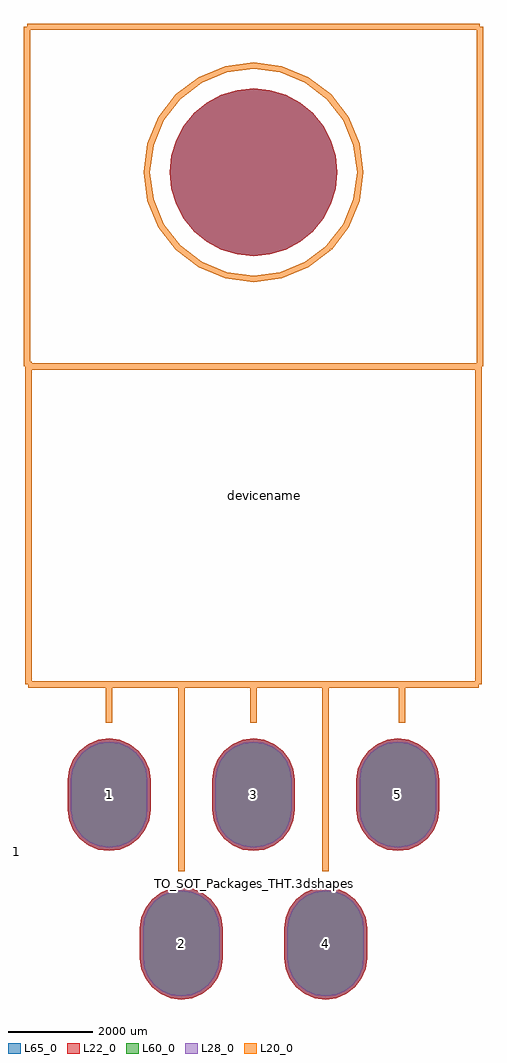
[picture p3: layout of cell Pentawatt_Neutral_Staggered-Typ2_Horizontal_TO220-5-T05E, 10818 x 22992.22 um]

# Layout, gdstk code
import gdstk
lib = gdstk.Library(unit=1e-6, precision=1e-09)
def P(c, l, *ps):  # polygons
    for p in ps: c.add(gdstk.Polygon(p, *l))
L20_0 = (20, 0)
L22_0 = (22, 0)
L28_0 = (28, 0)
L60_0 = (60, 0)
L65_0 = (65, 0)

pentawatt_neutral_stagge = lib.new_cell('Pentawatt_Neutral_Staggered-Typ2_Horizontal_TO220-5-T05E')
P(pentawatt_neutral_stagge, L22_0, [(1699.26,-2724.22),(1951.72,-2690.983),(2186.975,-2593.537),(2388.993,-2438.523),(2544.007,-2236.505),(2641.453,-2001.25),(2674.69,-1748.79),(2674.69,-1050.29),(2641.453,-797.83),(2544.007,-562.575),(2388.993,-360.557),(2186.975,-205.543),(1951.72,-108.097),(1699.26,-74.86),(1446.8,-108.097),(1211.545,-205.543),(1009.527,-360.557),(854.513,-562.575),(757.067,-797.83),(723.83,-1050.29),(723.83,-1748.79),(757.067,-2001.25),(854.513,-2236.505),(1009.527,-2438.523),(1211.545,-2593.537),(1446.8,-2690.983)],
  [(-1699.26,-2724.22),(-1446.8,-2690.983),(-1211.545,-2593.537),(-1009.527,-2438.523),(-854.513,-2236.505),(-757.067,-2001.25),(-723.83,-1748.79),(-723.83,-1050.29),(-757.067,-797.83),(-854.513,-562.575),(-1009.527,-360.557),(-1211.545,-205.543),(-1446.8,-108.097),(-1699.26,-74.86),(-1951.72,-108.097),(-2186.975,-205.543),(-2388.993,-360.557),(-2544.007,-562.575),(-2641.453,-797.83),(-2674.69,-1050.29),(-2674.69,-1748.79),(-2641.453,-2001.25),(-2544.007,-2236.505),(-2388.993,-2438.523),(-2186.975,-2593.537),(-1951.72,-2690.983)],
  [(1974.92,16764),(1936.972,17149.288),(1824.588,17519.769),(1642.086,17861.207),(1396.479,18160.479),(1097.207,18406.086),(755.769,18588.588),(385.288,18700.972),(0,18738.92),(-385.288,18700.972),(-755.769,18588.588),(-1097.207,18406.086),(-1396.479,18160.479),(-1642.086,17861.207),(-1824.588,17519.769),(-1936.972,17149.288),(-1974.92,16764),(-1936.972,16378.712),(-1824.588,16008.231),(-1642.086,15666.793),(-1396.479,15367.521),(-1097.207,15121.914),(-755.769,14939.412),(-385.288,14827.028),(0,14789.08),(385.288,14827.028),(755.769,14939.412),(1097.207,15121.914),(1396.479,15367.521),(1642.086,15666.793),(1824.588,16008.231),(1936.972,16378.712)],
  [(3401.06,775.9),(3653.52,809.137),(3888.775,906.583),(4090.793,1061.597),(4245.807,1263.615),(4343.253,1498.87),(4376.49,1751.33),(4376.49,2449.83),(4343.253,2702.29),(4245.807,2937.545),(4090.793,3139.563),(3888.775,3294.577),(3653.52,3392.023),(3401.06,3425.26),(3148.6,3392.023),(2913.345,3294.577),(2711.327,3139.563),(2556.313,2937.545),(2458.867,2702.29),(2425.63,2449.83),(2425.63,1751.33),(2458.867,1498.87),(2556.313,1263.615),(2711.327,1061.597),(2913.345,906.583),(3148.6,809.137)],
  [(-3401.06,775.9),(-3148.6,809.137),(-2913.345,906.583),(-2711.327,1061.597),(-2556.313,1263.615),(-2458.867,1498.87),(-2425.63,1751.33),(-2425.63,2449.83),(-2458.867,2702.29),(-2556.313,2937.545),(-2711.327,3139.563),(-2913.345,3294.577),(-3148.6,3392.023),(-3401.06,3425.26),(-3653.52,3392.023),(-3888.775,3294.577),(-4090.793,3139.563),(-4245.807,2937.545),(-4343.253,2702.29),(-4376.49,2449.83),(-4376.49,1751.33),(-4343.253,1498.87),(-4245.807,1263.615),(-4090.793,1061.597),(-3888.775,906.583),(-3653.52,809.137)],
  [(0,775.9),(252.46,809.137),(487.715,906.583),(689.733,1061.597),(844.747,1263.615),(942.193,1498.87),(975.43,1751.33),(975.43,2449.83),(942.193,2702.29),(844.747,2937.545),(689.733,3139.563),(487.715,3294.577),(252.46,3392.023),(0,3425.26),(-252.46,3392.023),(-487.715,3294.577),(-689.733,3139.563),(-844.747,2937.545),(-942.193,2702.29),(-975.43,2449.83),(-975.43,1751.33),(-942.193,1498.87),(-844.747,1263.615),(-689.733,1061.597),(-487.715,906.583),(-252.46,809.137)])
P(pentawatt_neutral_stagge, L28_0, [(1699.26,-2649.22),(1932.308,-2618.539),(2149.475,-2528.585),(2335.96,-2385.49),(2479.055,-2199.005),(2569.009,-1981.838),(2599.69,-1748.79),(2599.69,-1050.29),(2569.009,-817.242),(2479.055,-600.075),(2335.96,-413.59),(2149.475,-270.495),(1932.308,-180.541),(1699.26,-149.86),(1466.212,-180.541),(1249.045,-270.495),(1062.56,-413.59),(919.465,-600.075),(829.511,-817.242),(798.83,-1050.29),(798.83,-1748.79),(829.511,-1981.838),(919.465,-2199.005),(1062.56,-2385.49),(1249.045,-2528.585),(1466.212,-2618.539)],
  [(-1699.26,-2649.22),(-1466.212,-2618.539),(-1249.045,-2528.585),(-1062.56,-2385.49),(-919.465,-2199.005),(-829.511,-1981.838),(-798.83,-1748.79),(-798.83,-1050.29),(-829.511,-817.242),(-919.465,-600.075),(-1062.56,-413.59),(-1249.045,-270.495),(-1466.212,-180.541),(-1699.26,-149.86),(-1932.308,-180.541),(-2149.475,-270.495),(-2335.96,-413.59),(-2479.055,-600.075),(-2569.009,-817.242),(-2599.69,-1050.29),(-2599.69,-1748.79),(-2569.009,-1981.838),(-2479.055,-2199.005),(-2335.96,-2385.49),(-2149.475,-2528.585),(-1932.308,-2618.539)],
  [(3401.06,850.9),(3634.108,881.581),(3851.275,971.535),(4037.76,1114.63),(4180.855,1301.115),(4270.809,1518.282),(4301.49,1751.33),(4301.49,2449.83),(4270.809,2682.878),(4180.855,2900.045),(4037.76,3086.53),(3851.275,3229.625),(3634.108,3319.579),(3401.06,3350.26),(3168.012,3319.579),(2950.845,3229.625),(2764.36,3086.53),(2621.265,2900.045),(2531.311,2682.878),(2500.63,2449.83),(2500.63,1751.33),(2531.311,1518.282),(2621.265,1301.115),(2764.36,1114.63),(2950.845,971.535),(3168.012,881.581)],
  [(-3401.06,850.9),(-3168.012,881.581),(-2950.845,971.535),(-2764.36,1114.63),(-2621.265,1301.115),(-2531.311,1518.282),(-2500.63,1751.33),(-2500.63,2449.83),(-2531.311,2682.878),(-2621.265,2900.045),(-2764.36,3086.53),(-2950.845,3229.625),(-3168.012,3319.579),(-3401.06,3350.26),(-3634.108,3319.579),(-3851.275,3229.625),(-4037.76,3086.53),(-4180.855,2900.045),(-4270.809,2682.878),(-4301.49,2449.83),(-4301.49,1751.33),(-4270.809,1518.282),(-4180.855,1301.115),(-4037.76,1114.63),(-3851.275,971.535),(-3634.108,881.581)],
  [(0,850.9),(233.048,881.581),(450.215,971.535),(636.7,1114.63),(779.795,1301.115),(869.749,1518.282),(900.43,1751.33),(900.43,2449.83),(869.749,2682.878),(779.795,2900.045),(636.7,3086.53),(450.215,3229.625),(233.048,3319.579),(0,3350.26),(-233.048,3319.579),(-450.215,3229.625),(-636.7,3086.53),(-779.795,2900.045),(-869.749,2682.878),(-900.43,2449.83),(-900.43,1751.33),(-869.749,1518.282),(-779.795,1301.115),(-636.7,1114.63),(-450.215,971.535),(-233.048,881.581)])
P(pentawatt_neutral_stagge, L60_0, [(1699.26,-2649.22),(1932.308,-2618.539),(2149.475,-2528.585),(2335.96,-2385.49),(2479.055,-2199.005),(2569.009,-1981.838),(2599.69,-1748.79),(2599.69,-1050.29),(2569.009,-817.242),(2479.055,-600.075),(2335.96,-413.59),(2149.475,-270.495),(1932.308,-180.541),(1699.26,-149.86),(1466.212,-180.541),(1249.045,-270.495),(1062.56,-413.59),(919.465,-600.075),(829.511,-817.242),(798.83,-1050.29),(798.83,-1748.79),(829.511,-1981.838),(919.465,-2199.005),(1062.56,-2385.49),(1249.045,-2528.585),(1466.212,-2618.539)],
  [(-1699.26,-2649.22),(-1466.212,-2618.539),(-1249.045,-2528.585),(-1062.56,-2385.49),(-919.465,-2199.005),(-829.511,-1981.838),(-798.83,-1748.79),(-798.83,-1050.29),(-829.511,-817.242),(-919.465,-600.075),(-1062.56,-413.59),(-1249.045,-270.495),(-1466.212,-180.541),(-1699.26,-149.86),(-1932.308,-180.541),(-2149.475,-270.495),(-2335.96,-413.59),(-2479.055,-600.075),(-2569.009,-817.242),(-2599.69,-1050.29),(-2599.69,-1748.79),(-2569.009,-1981.838),(-2479.055,-2199.005),(-2335.96,-2385.49),(-2149.475,-2528.585),(-1932.308,-2618.539)],
  [(3401.06,850.9),(3634.108,881.581),(3851.275,971.535),(4037.76,1114.63),(4180.855,1301.115),(4270.809,1518.282),(4301.49,1751.33),(4301.49,2449.83),(4270.809,2682.878),(4180.855,2900.045),(4037.76,3086.53),(3851.275,3229.625),(3634.108,3319.579),(3401.06,3350.26),(3168.012,3319.579),(2950.845,3229.625),(2764.36,3086.53),(2621.265,2900.045),(2531.311,2682.878),(2500.63,2449.83),(2500.63,1751.33),(2531.311,1518.282),(2621.265,1301.115),(2764.36,1114.63),(2950.845,971.535),(3168.012,881.581)],
  [(-3401.06,850.9),(-3168.012,881.581),(-2950.845,971.535),(-2764.36,1114.63),(-2621.265,1301.115),(-2531.311,1518.282),(-2500.63,1751.33),(-2500.63,2449.83),(-2531.311,2682.878),(-2621.265,2900.045),(-2764.36,3086.53),(-2950.845,3229.625),(-3168.012,3319.579),(-3401.06,3350.26),(-3634.108,3319.579),(-3851.275,3229.625),(-4037.76,3086.53),(-4180.855,2900.045),(-4270.809,2682.878),(-4301.49,2449.83),(-4301.49,1751.33),(-4270.809,1518.282),(-4180.855,1301.115),(-4037.76,1114.63),(-3851.275,971.535),(-3634.108,881.581)],
  [(0,850.9),(233.048,881.581),(450.215,971.535),(636.7,1114.63),(779.795,1301.115),(869.749,1518.282),(900.43,1751.33),(900.43,2449.83),(869.749,2682.878),(779.795,2900.045),(636.7,3086.53),(450.215,3229.625),(233.048,3319.579),(0,3350.26),(-233.048,3319.579),(-450.215,3229.625),(-636.7,3086.53),(-779.795,2900.045),(-869.749,2682.878),(-900.43,2449.83),(-900.43,1751.33),(-869.749,1518.282),(-779.795,1301.115),(-636.7,1114.63),(-450.215,971.535),(-233.048,881.581)])
P(pentawatt_neutral_stagge, L65_0, [(1699.26,-2724.22),(1951.72,-2690.983),(2186.975,-2593.537),(2388.993,-2438.523),(2544.007,-2236.505),(2641.453,-2001.25),(2674.69,-1748.79),(2674.69,-1050.29),(2641.453,-797.83),(2544.007,-562.575),(2388.993,-360.557),(2186.975,-205.543),(1951.72,-108.097),(1699.26,-74.86),(1446.8,-108.097),(1211.545,-205.543),(1009.527,-360.557),(854.513,-562.575),(757.067,-797.83),(723.83,-1050.29),(723.83,-1748.79),(757.067,-2001.25),(854.513,-2236.505),(1009.527,-2438.523),(1211.545,-2593.537),(1446.8,-2690.983)],
  [(-1699.26,-2724.22),(-1446.8,-2690.983),(-1211.545,-2593.537),(-1009.527,-2438.523),(-854.513,-2236.505),(-757.067,-2001.25),(-723.83,-1748.79),(-723.83,-1050.29),(-757.067,-797.83),(-854.513,-562.575),(-1009.527,-360.557),(-1211.545,-205.543),(-1446.8,-108.097),(-1699.26,-74.86),(-1951.72,-108.097),(-2186.975,-205.543),(-2388.993,-360.557),(-2544.007,-562.575),(-2641.453,-797.83),(-2674.69,-1050.29),(-2674.69,-1748.79),(-2641.453,-2001.25),(-2544.007,-2236.505),(-2388.993,-2438.523),(-2186.975,-2593.537),(-1951.72,-2690.983)],
  [(1974.92,16764),(1936.972,17149.288),(1824.588,17519.769),(1642.086,17861.207),(1396.479,18160.479),(1097.207,18406.086),(755.769,18588.588),(385.288,18700.972),(0,18738.92),(-385.288,18700.972),(-755.769,18588.588),(-1097.207,18406.086),(-1396.479,18160.479),(-1642.086,17861.207),(-1824.588,17519.769),(-1936.972,17149.288),(-1974.92,16764),(-1936.972,16378.712),(-1824.588,16008.231),(-1642.086,15666.793),(-1396.479,15367.521),(-1097.207,15121.914),(-755.769,14939.412),(-385.288,14827.028),(0,14789.08),(385.288,14827.028),(755.769,14939.412),(1097.207,15121.914),(1396.479,15367.521),(1642.086,15666.793),(1824.588,16008.231),(1936.972,16378.712)],
  [(3401.06,775.9),(3653.52,809.137),(3888.775,906.583),(4090.793,1061.597),(4245.807,1263.615),(4343.253,1498.87),(4376.49,1751.33),(4376.49,2449.83),(4343.253,2702.29),(4245.807,2937.545),(4090.793,3139.563),(3888.775,3294.577),(3653.52,3392.023),(3401.06,3425.26),(3148.6,3392.023),(2913.345,3294.577),(2711.327,3139.563),(2556.313,2937.545),(2458.867,2702.29),(2425.63,2449.83),(2425.63,1751.33),(2458.867,1498.87),(2556.313,1263.615),(2711.327,1061.597),(2913.345,906.583),(3148.6,809.137)],
  [(-3401.06,775.9),(-3148.6,809.137),(-2913.345,906.583),(-2711.327,1061.597),(-2556.313,1263.615),(-2458.867,1498.87),(-2425.63,1751.33),(-2425.63,2449.83),(-2458.867,2702.29),(-2556.313,2937.545),(-2711.327,3139.563),(-2913.345,3294.577),(-3148.6,3392.023),(-3401.06,3425.26),(-3653.52,3392.023),(-3888.775,3294.577),(-4090.793,3139.563),(-4245.807,2937.545),(-4343.253,2702.29),(-4376.49,2449.83),(-4376.49,1751.33),(-4343.253,1498.87),(-4245.807,1263.615),(-4090.793,1061.597),(-3888.775,906.583),(-3653.52,809.137)],
  [(0,775.9),(252.46,809.137),(487.715,906.583),(689.733,1061.597),(844.747,1263.615),(942.193,1498.87),(975.43,1751.33),(975.43,2449.83),(942.193,2702.29),(844.747,2937.545),(689.733,3139.563),(487.715,3294.577),(252.46,3392.023),(0,3425.26),(-252.46,3392.023),(-487.715,3294.577),(-689.733,3139.563),(-844.747,2937.545),(-942.193,2702.29),(-975.43,2449.83),(-975.43,1751.33),(-942.193,1498.87),(-844.747,1263.615),(-689.733,1061.597),(-487.715,906.583),(-252.46,809.137)])
pentawatt_neutral_stagge.add(gdstk.FlexPath([(5334,12192),(-5334,12192)], 149.998, ends="flush", simple_path=True, layer=20, datatype=0))  # L20_0
pentawatt_neutral_stagge.add(gdstk.FlexPath([(-5334,20193),(-5334,12192)], 149.998, ends="flush", simple_path=True, layer=20, datatype=0))  # L20_0
pentawatt_neutral_stagge.add(gdstk.FlexPath([(5334,20193),(-5334,20193)], 149.998, ends="flush", simple_path=True, layer=20, datatype=0))  # L20_0
pentawatt_neutral_stagge.add(gdstk.FlexPath([(5334,12192),(5334,20193)], 149.998, ends="flush", simple_path=True, layer=20, datatype=0))  # L20_0
pentawatt_neutral_stagge.add(gdstk.FlexPath([(1778,14986),(2177.596,15506.764),(2428.793,16113.207),(2514.472,16764),(2428.793,17414.793),(2177.596,18021.236),(1778,18542),(1257.236,18941.596),(650.793,19192.793),(0,19278.472),(-650.793,19192.793),(-1257.236,18941.596),(-1778,18542),(-2177.596,18021.236),(-2428.793,17414.793),(-2514.472,16764),(-2428.793,16113.207),(-2177.596,15506.764),(-1778,14986),(-1257.236,14586.404),(-650.793,14335.207),(0,14249.528),(650.793,14335.207),(1257.236,14586.404),(1778,14986)], 149.998, ends="flush", simple_path=True, layer=20, datatype=0))  # L20_0
pentawatt_neutral_stagge.add(gdstk.FlexPath([(-5300.98,4699),(5300.98,4699)], 149.998, ends="flush", simple_path=True, layer=20, datatype=0))  # L20_0
pentawatt_neutral_stagge.add(gdstk.FlexPath([(5300.98,12199.62),(5300.98,4699)], 149.998, ends="flush", simple_path=True, layer=20, datatype=0))  # L20_0
pentawatt_neutral_stagge.add(gdstk.FlexPath([(-5300.98,4699),(-5300.98,12301.22)], 149.998, ends="flush", simple_path=True, layer=20, datatype=0))  # L20_0
pentawatt_neutral_stagge.add(gdstk.FlexPath([(-3401.06,3799.84),(-3401.06,4699)], 149.998, ends="flush", simple_path=True, layer=20, datatype=0))  # L20_0
pentawatt_neutral_stagge.add(gdstk.FlexPath([(3500.12,3799.84),(3500.12,4699)], 149.998, ends="flush", simple_path=True, layer=20, datatype=0))  # L20_0
pentawatt_neutral_stagge.add(gdstk.FlexPath([(0,3799.84),(0,4699)], 149.998, ends="flush", simple_path=True, layer=20, datatype=0))  # L20_0
pentawatt_neutral_stagge.add(gdstk.FlexPath([(-1699.26,299.72),(-1699.26,4699)], 149.998, ends="flush", simple_path=True, layer=20, datatype=0))  # L20_0
pentawatt_neutral_stagge.add(gdstk.FlexPath([(1699.26,299.72),(1699.26,4699)], 149.998, ends="flush", simple_path=True, layer=20, datatype=0))  # L20_0
pentawatt_neutral_stagge.add(gdstk.Label('TO_SOT_Packages_THT.3dshapes/Pentawatt_Neutral_Staggered-Typ2_Horizontal_TO220-5-T05E.wrl', (0,0), layer=12, texttype=0))
pentawatt_neutral_stagge.add(gdstk.Label('4', (1699.26,-1399.54), layer=28, texttype=0))
pentawatt_neutral_stagge.add(gdstk.Label('2', (-1699.26,-1399.54), layer=28, texttype=0))
pentawatt_neutral_stagge.add(gdstk.Label('5', (3401.06,2100.58), layer=28, texttype=0))
pentawatt_neutral_stagge.add(gdstk.Label('1', (-3401.06,2100.58), layer=28, texttype=0))
pentawatt_neutral_stagge.add(gdstk.Label('3', (0,2100.58), layer=28, texttype=0))
pentawatt_neutral_stagge.add(gdstk.Label('1', (-5588,762), layer=9, texttype=0))
pentawatt_neutral_stagge.add(gdstk.Label('type', (2540,-5080), layer=9, texttype=0))
pentawatt_neutral_stagge.add(gdstk.Label('devicename', (254,9144), layer=9, texttype=0))

lib.write_gds('Pentawatt_Neutral_Staggered-Typ2_Horizontal_TO220-5-T05E.gds')
